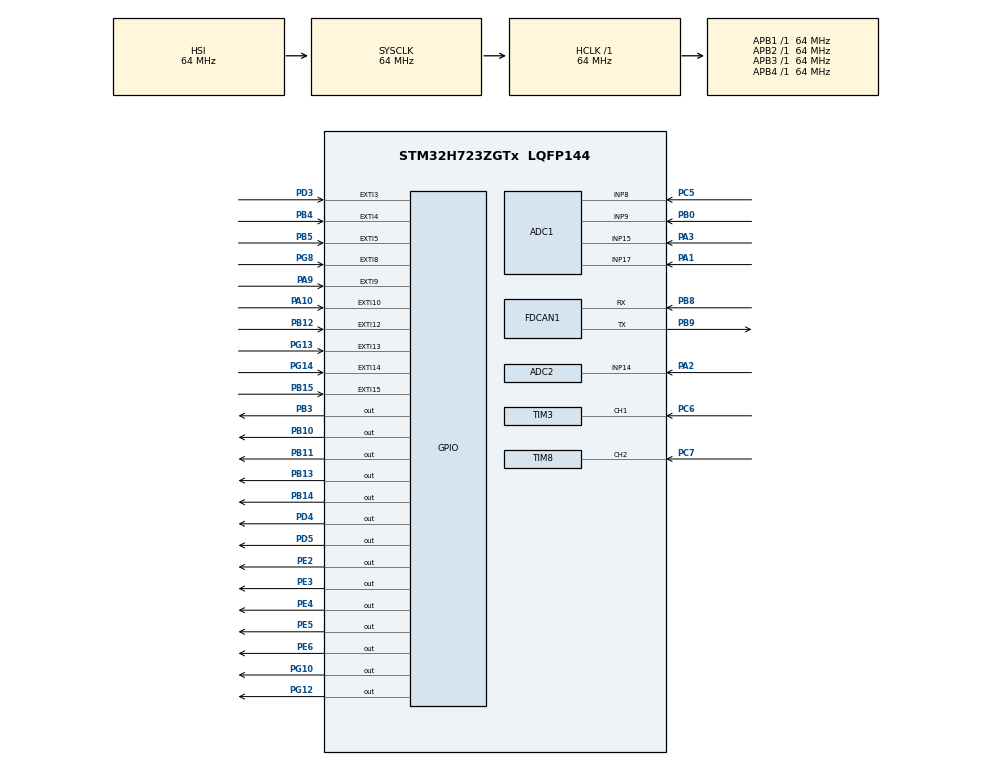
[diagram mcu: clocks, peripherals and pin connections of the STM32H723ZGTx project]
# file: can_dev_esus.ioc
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ADC1.Channel-0\#ChannelRegularConversion=ADC_CHANNEL_9
ADC1.ClockPrescaler=ADC_CLOCK_ASYNC_DIV4
ADC1.NbrOfConversionFlag=1
ADC1.OffsetNumber-0\#ChannelRegularConversion=ADC_OFFSET_NONE
ADC1.OffsetSignedSaturation-0\#ChannelRegularConversion=DISABLE
ADC1.Rank-0\#ChannelRegularConversion=1
ADC1.SamplingTime-0\#ChannelRegularConversion=ADC_SAMPLETIME_1CYCLE_5
ADC1.master=1
ADC2.Channel-0\#ChannelRegularConversion=ADC_CHANNEL_14
ADC2.ClockPrescaler=ADC_CLOCK_ASYNC_DIV4
ADC2.NbrOfConversionFlag=1
ADC2.OffsetNumber-0\#ChannelRegularConversion=ADC_OFFSET_NONE
ADC2.OffsetSignedSaturation-0\#ChannelRegularConversion=DISABLE
ADC2.Rank-0\#ChannelRegularConversion=1
ADC2.SamplingTime-0\#ChannelRegularConversion=ADC_SAMPLETIME_1CYCLE_5
CORTEX_M7.default_mode_Activation=1
FDCAN1.AutoRetransmission=ENABLE
FDCAN1.CalculateBaudRateNominal=500000
FDCAN1.CalculateTimeBitNominal=2000
FDCAN1.CalculateTimeQuantumNominal=125.0
FDCAN1.ClockCalibrationCCU=DISABLE
FDCAN1.DataPrescaler=5
FDCAN1.DataSyncJumpWidth=2
FDCAN1.DataTimeSeg1=13
FDCAN1.DataTimeSeg2=6
FDCAN1.Mode=FDCAN_MODE_NORMAL
FDCAN1.NominalPrescaler=6
FDCAN1.NominalSyncJumpWidth=1
FDCAN1.NominalTimeSeg1=13
FDCAN1.NominalTimeSeg2=2
FDCAN1.RxFifo0ElmtsNbr=4
FDCAN1.StdFiltersNbr=1
FDCAN1.TxFifoQueueElmtsNbr=4
Mcu.Family=STM32H7
Mcu.Name=STM32H723ZGTx
Mcu.Package=LQFP144
NVIC.FDCAN1_IT0_IRQn=true\:0\:0\:false\:false\:true\:true\:true\:true
NVIC.FDCAN1_IT1_IRQn=true\:0\:0\:false\:false\:true\:true\:true\:true
NVIC.PriorityGroup=NVIC_PRIORITYGROUP_4
NVIC.TIM3_IRQn=true\:0\:0\:false\:false\:true\:true\:true\:true
NVIC.TIM8_CC_IRQn=true\:0\:0\:false\:false\:true\:true\:true\:true
PA0.Signal=ADC1_INP16
PA1.Mode=IN17-Single-Ended
PA1.Signal=ADC1_INP17
PA10.Signal=GPXTI10
PA11.Signal=USB_OTG_HS_DM
PA12.Signal=USB_OTG_HS_DP
PA13(JTMS/SWDIO).Signal=DEBUG_JTMS-SWDIO
PA14(JTCK/SWCLK).Signal=DEBUG_JTCK-SWCLK
PA2.Signal=ADCx_INP14
PA3.Signal=ADCx_INP15
PA7.Signal=FMC_SDNWE
PA9.Signal=GPXTI9
PB0.Signal=ADCx_INP9
PB1.Signal=ADCx_INP5
PB10.Signal=GPIO_Output
PB11.Signal=GPIO_Output
PB12.Signal=GPXTI12
PB13.Signal=GPIO_Output
PB14.Signal=GPIO_Output
PB15.Signal=GPXTI15
PB3(JTDO/TRACESWO).Signal=GPIO_Output
PB4(NJTRST).Signal=GPXTI4
PB5.Signal=GPXTI5
PB6.Signal=I2C1_SCL
PB7.Signal=I2C1_SDA
PB8.GPIO_PuPd=GPIO_NOPULL
PB8.GPIO_Speed=GPIO_SPEED_FREQ_VERY_HIGH
PB8.Mode=FDCAN_Activate
PB8.Signal=FDCAN1_RX
PB9.GPIO_Speed=GPIO_SPEED_FREQ_VERY_HIGH
PB9.Mode=FDCAN_Activate
PB9.Signal=FDCAN1_TX
PC10.Signal=SDMMC1_D2
PC11.Signal=SDMMC1_D3
PC12.Signal=SDMMC1_CK
PC14-OSC32_IN.Mode=LSE-External-Oscillator
PC14-OSC32_IN.Signal=RCC_OSC32_IN
PC15-OSC32_OUT.Mode=LSE-External-Oscillator
PC15-OSC32_OUT.Signal=RCC_OSC32_OUT
PC2_C.Signal=FMC_SDNE0
PC3_C.Signal=FMC_SDCKE0
PC5.Signal=ADCx_INP8
PC6.Signal=S_TIM3_CH1
PC7.Signal=S_TIM8_CH2
PC8.Signal=SDMMC1_D0
PC9.Signal=SDMMC1_D1
PD0.Signal=FMC_D2_DA2
PD1.Signal=FMC_D3_DA3
PD14.Signal=FMC_D0_DA0
PD2.Signal=SDMMC1_CMD
PD3.Signal=GPXTI3
PD4.Signal=GPIO_Output
PD5.Signal=GPIO_Output
PD7.Signal=SPI1_MOSI
PE10.Signal=FMC_D7_DA7
PE11.Signal=OCTOSPIM_P1_NCS
PE2.Signal=GPIO_Output
PE3.Signal=GPIO_Output
PE4.Signal=GPIO_Output
PE5.Signal=GPIO_Output
PE6.Signal=GPIO_Output
PE7.Signal=FMC_D4_DA4
PE8.Signal=FMC_D5_DA5
PE9.Signal=FMC_D6_DA6
PF0.Signal=FMC_A0
PF1.Signal=FMC_A1
PF10.Signal=OCTOSPIM_P1_CLK
PF11.Signal=FMC_SDNRAS
PF12.Signal=FMC_A6
PF13.Signal=FMC_A7
PF14.Signal=FMC_A8
PF15.Signal=FMC_A9
PF2.Signal=FMC_A2
PF3.Signal=FMC_A3
PF4.Signal=FMC_A4
PF5.Signal=FMC_A5
PF6.Signal=OCTOSPIM_P1_IO3
PF7.Signal=OCTOSPIM_P1_IO2
PF8.Signal=OCTOSPIM_P1_IO0
PF9.Signal=OCTOSPIM_P1_IO1
PG0.Signal=FMC_A10
PG1.Signal=FMC_A11
PG10.Signal=GPIO_Output
PG11.Signal=SPI1_SCK
PG12.Signal=GPIO_Output
PG13.Signal=GPXTI13
PG14.Signal=GPXTI14
PG15.Signal=FMC_SDNCAS
PG2.Signal=FMC_A12
PG4.Signal=FMC_A14_BA0
PG5.Signal=FMC_A15_BA1
PG8.Signal=GPXTI8
PG9.Signal=SPI1_MISO
PH0-OSC_IN.Mode=HSE-External-Oscillator
PH0-OSC_IN.Signal=RCC_OSC_IN
PH1-OSC_OUT.Mode=HSE-External-Oscillator
PH1-OSC_OUT.Signal=RCC_OSC_OUT
ProjectManager.HeapSize=0x200
ProjectManager.StackSize=0x400
ProjectManager.TargetToolchain=CMake
RCC.ADCFreq_Value=38400000
RCC.APB1Freq_Value=64000000
RCC.APB2Freq_Value=64000000
RCC.APB3Freq_Value=64000000
RCC.APB4Freq_Value=64000000
RCC.CortexFreq_Value=64000000
RCC.DIVM1=4
RCC.DIVM2=4
RCC.DIVN1=12
RCC.DIVN2=12
RCC.DIVP2=5
RCC.DIVQ1=4
RCC.HCLKFreq_Value=64000000
RCC.PLL2FRACN=0
RCC.PLLFRACN=0
RCC.SYSCLKFreq_VALUE=64000000
RCC.USBFreq_Value=48000000
SH.ADCx_INP14.0=ADC2_INP14,IN14-Single-Ended
SH.ADCx_INP14.1=ADC1_INP14,IN14-Single-Ended
SH.ADCx_INP15.0=ADC1_INP15,IN15-Single-Ended
SH.ADCx_INP5.0=ADC1_INP5
SH.ADCx_INP8.0=ADC1_INP8,IN8-Single-Ended
SH.ADCx_INP9.0=ADC1_INP9,IN9-Single-Ended
SH.FMC_A0.0=FMC_A0
SH.FMC_A1.0=FMC_A1
SH.FMC_A10.0=FMC_A10
SH.FMC_A11.0=FMC_A11
SH.FMC_A12.0=FMC_A12
SH.FMC_A14_BA0.0=FMC_BA0
SH.FMC_A15_BA1.0=FMC_BA1
SH.FMC_A2.0=FMC_A2
SH.FMC_A3.0=FMC_A3
SH.FMC_A4.0=FMC_A4
SH.FMC_A5.0=FMC_A5
SH.FMC_A6.0=FMC_A6
SH.FMC_A7.0=FMC_A7
SH.FMC_A8.0=FMC_A8
SH.FMC_A9.0=FMC_A9
SH.FMC_D0_DA0.0=FMC_D0
SH.FMC_D2_DA2.0=FMC_D2
SH.FMC_D3_DA3.0=FMC_D3
SH.FMC_D4_DA4.0=FMC_D4
SH.FMC_D5_DA5.0=FMC_D5
SH.FMC_D6_DA6.0=FMC_D6
SH.FMC_D7_DA7.0=FMC_D7
SH.FMC_SDNCAS.0=FMC_SDNCAS
SH.FMC_SDNRAS.0=FMC_SDNRAS
SH.FMC_SDNWE.0=FMC_SDNWE
SH.S_TIM3_CH1.0=TIM3_CH1,Input_Capture1_from_TI1
SH.S_TIM8_CH2.0=TIM8_CH2,Input_Capture2_from_TI2
TIM3.Channel-Input_Capture1_from_TI1=TIM_CHANNEL_1
TIM3.ICFilter_CH1=15
TIM3.Prescaler=1999
TIM8.Channel-Input_Capture2_from_TI2=TIM_CHANNEL_2
TIM8.ICFilter_CH2=11
TIM8.ICPolarity_CH2=TIM_INPUTCHANNELPOLARITY_RISING
TIM8.Prescaler=1999
VP_MEMORYMAP_VS_MEMORYMAP.Mode=CurAppReg
VP_TIM3_VS_ClockSourceINT.Mode=Internal
VP_TIM8_VS_ClockSourceINT.Mode=Internal
board=custom

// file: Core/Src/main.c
/* USER CODE BEGIN Header */
/* USER CODE END Header */
#include "main.h"

/* USER CODE BEGIN Includes */
#include "control.h"
#include "can_messages.h"
/* USER CODE END Includes */

/* USER CODE BEGIN PD */
// SYSCLK = HSI = 64 MHz, no dividers on APB1/APB2
// Prescaler 199  →  timer tick = 64 MHz / 200 = 320 000 Hz
// (was 1999 → 32 000 Hz; 10× more resolution for period measurement)
#define TIM3_CLOCK_FREQ         320000U
#define TIM8_CLOCK_FREQ         320000U

// Software debounce kept only for the speedometer (magnetic hall sensor).
// The tachometer (induction/VR sensor) debounce is removed entirely;
// rely on the hardware ICFilter instead.
#define MAGNET_DEBOUNCE_TIME_MS 5U

// Smoothing: lower α → more stable, slower to respond.
// 0.15 is a good starting point for a noisy VR sensor.
#define SPEED_SMOOTHING         0.15f
#define TACH_SMOOTHING          0.10f

#define PULSES_PER_REV          1.0f
#define MAX_RPM_LIMIT           20000U
#define RADIUS_MM               266.7f
#define PI                      3.14159265358979323846f
#define TIRE_CIRCUMFERENCE_KM   ((2.0f * PI * RADIUS_MM) / 1000000.0f)

// Counter period is 0xFFFF (65535); the counter wraps 65535 → 0.
// Full-scale tick count per overflow = 65536.
#define TIMER_PERIOD_TICKS      65536U
/* USER CODE END PD */

ADC_HandleTypeDef hadc1;
ADC_HandleTypeDef hadc2;

FDCAN_HandleTypeDef hfdcan1;

TIM_HandleTypeDef htim3;
TIM_HandleTypeDef htim8;

/* USER CODE BEGIN PV */
volatile uint32_t previous_speedometer_capture_value = 0;
volatile uint32_t last_magnet_time                   = 0;
volatile uint32_t previous_tachometer_capture_value  = 0;
// last_spark_time removed — no longer used for tachometer debounce.

static float smoothed_speed_freq = 0.0f;
static float smoothed_tach_freq  = 0.0f;
/* USER CODE END PV */

void SystemClock_Config(void);
void PeriphCommonClock_Config(void);
static void MPU_Config(void);
static void MX_GPIO_Init(void);
static void MX_FDCAN1_Init(void);
static void MX_ADC1_Init(void);
static void MX_ADC2_Init(void);
static void MX_TIM3_Init(void);
static void MX_TIM8_Init(void);

int main(void)
{

  /* MPU Configuration--------------------------------------------------------*/
  MPU_Config();

  /* MCU Configuration--------------------------------------------------------*/

  /* Reset of all peripherals, Initializes the Flash interface and the Systick. */
  HAL_Init();

  /* Configure the system clock */
  SystemClock_Config();

  /* Configure the peripherals common clocks */
  PeriphCommonClock_Config();

  /* Initialize all configured peripherals */
  MX_GPIO_Init();
  MX_FDCAN1_Init();
  MX_ADC1_Init();
  MX_ADC2_Init();
  MX_TIM3_Init();
  MX_TIM8_Init();
  /* USER CODE BEGIN 2 */
  if (HAL_FDCAN_Start(&hfdcan1) != HAL_OK)
  {
    Error_Handler();
  }

  if (HAL_FDCAN_ActivateNotification(&hfdcan1, FDCAN_IT_RX_FIFO0_NEW_MESSAGE, 0) != HAL_OK)
  {
    Error_Handler();
  }

  HAL_NVIC_SetPriority(TIM3_IRQn, 0, 0);
  HAL_NVIC_EnableIRQ(TIM3_IRQn);

  HAL_NVIC_SetPriority(TIM8_CC_IRQn, 0, 0);
  HAL_NVIC_EnableIRQ(TIM8_CC_IRQn);

  if (HAL_TIM_IC_Start_IT(&htim3, TIM_CHANNEL_1) != HAL_OK)
  {
    Error_Handler();
  }
  if (HAL_TIM_IC_Start_IT(&htim8, TIM_CHANNEL_2) != HAL_OK)
  {
    Error_Handler();
  }

  HAL_FDCAN_ConfigGlobalFilter(
    &hfdcan1,
    FDCAN_ACCEPT_IN_RX_FIFO0,
    FDCAN_ACCEPT_IN_RX_FIFO0,
    DISABLE,
    DISABLE
  );

  HAL_GPIO_WritePin(GPIOE, GPIO_PIN_6, GPIO_PIN_RESET); // Force CAN transceiver ON

  /* USER CODE END 2 */

  /* Infinite loop */
  while (1)
  {

    /* USER CODE BEGIN 3 */

    uint32_t current_time = HAL_GetTick();

    // Zero-out speed if no magnet pulse for > 1 s
    if ((current_time - last_magnet_time) > 1000U)
    {
      measured_speedometer_frequency = 0;
      smoothed_speed_freq            = 0.0f;
    }

    // Zero-out tach if no spark pulse for > 1 s.
    // Use the capture-register timestamp stored in previous_tachometer_capture_value
    // indirectly: compare against last_magnet_time equivalent kept via HAL tick
    // captured inside the ISR.  We reuse the same pattern but with a separate
    // dedicated tick variable written in the ISR.
    // (last_tach_tick is declared below as a file-scope volatile)
    extern volatile uint32_t last_tach_tick;
    if ((current_time - last_tach_tick) > 1000U)
    {
      measured_tachometer_frequency = 0;
      smoothed_tach_freq            = 0.0f;
    }

    SendSpeedOnCan(CAN_ID_REAR_SPEED);
    SendTachometerOnCan(CAN_ID_REAR_RPM);

    HAL_Delay(100);

    // Bus-Off recovery
    if (hfdcan1.Instance->PSR & FDCAN_PSR_BO)
    {
      HAL_FDCAN_Stop(&hfdcan1);
      HAL_FDCAN_Start(&hfdcan1);
      HAL_FDCAN_ActivateNotification(&hfdcan1, FDCAN_IT_RX_FIFO0_NEW_MESSAGE, 0);
    }
  }
  /* USER CODE END 3 */
}

void SystemClock_Config(void)
{
  RCC_OscInitTypeDef RCC_OscInitStruct = {0};
  RCC_ClkInitTypeDef RCC_ClkInitStruct = {0};

  /** Supply configuration update enable
  */
  HAL_PWREx_ConfigSupply(PWR_LDO_SUPPLY);

  /** Configure the main internal regulator output voltage
  */
  __HAL_PWR_VOLTAGESCALING_CONFIG(PWR_REGULATOR_VOLTAGE_SCALE3);

  while(!__HAL_PWR_GET_FLAG(PWR_FLAG_VOSRDY)) {}

  /** Initializes the RCC Oscillators according to the specified parameters
  * in the RCC_OscInitTypeDef structure.
  */
  RCC_OscInitStruct.OscillatorType = RCC_OSCILLATORTYPE_HSI;
  RCC_OscInitStruct.HSIState = RCC_HSI_DIV1;
  RCC_OscInitStruct.HSICalibrationValue = 64;
  RCC_OscInitStruct.PLL.PLLState = RCC_PLL_ON;
  RCC_OscInitStruct.PLL.PLLSource = RCC_PLLSOURCE_HSI;
  RCC_OscInitStruct.PLL.PLLM = 4;
  RCC_OscInitStruct.PLL.PLLN = 12;
  RCC_OscInitStruct.PLL.PLLP = 2;
  RCC_OscInitStruct.PLL.PLLQ = 4;
  RCC_OscInitStruct.PLL.PLLR = 2;
  RCC_OscInitStruct.PLL.PLLRGE = RCC_PLL1VCIRANGE_3;
  RCC_OscInitStruct.PLL.PLLVCOSEL = RCC_PLL1VCOWIDE;
  RCC_OscInitStruct.PLL.PLLFRACN = 0;
  if (HAL_RCC_OscConfig(&RCC_OscInitStruct) != HAL_OK)
  {
    Error_Handler();
  }

  /** Initializes the CPU, AHB and APB buses clocks
  */
  RCC_ClkInitStruct.ClockType = RCC_CLOCKTYPE_HCLK|RCC_CLOCKTYPE_SYSCLK
                              |RCC_CLOCKTYPE_PCLK1|RCC_CLOCKTYPE_PCLK2
                              |RCC_CLOCKTYPE_D3PCLK1|RCC_CLOCKTYPE_D1PCLK1;
  RCC_ClkInitStruct.SYSCLKSource = RCC_SYSCLKSOURCE_HSI;
  RCC_ClkInitStruct.SYSCLKDivider = RCC_SYSCLK_DIV1;
  RCC_ClkInitStruct.AHBCLKDivider = RCC_HCLK_DIV1;
  RCC_ClkInitStruct.APB3CLKDivider = RCC_APB3_DIV1;
  RCC_ClkInitStruct.APB1CLKDivider = RCC_APB1_DIV1;
  RCC_ClkInitStruct.APB2CLKDivider = RCC_APB2_DIV1;
  RCC_ClkInitStruct.APB4CLKDivider = RCC_APB4_DIV1;

  if (HAL_RCC_ClockConfig(&RCC_ClkInitStruct, FLASH_LATENCY_1) != HAL_OK)
  {
    Error_Handler();
  }
}

void PeriphCommonClock_Config(void)
{
  RCC_PeriphCLKInitTypeDef PeriphClkInitStruct = {0};

  /** Initializes the peripherals clock
  */
  PeriphClkInitStruct.PeriphClockSelection = RCC_PERIPHCLK_ADC;
  PeriphClkInitStruct.PLL2.PLL2M = 4;
  PeriphClkInitStruct.PLL2.PLL2N = 12;
  PeriphClkInitStruct.PLL2.PLL2P = 5;
  PeriphClkInitStruct.PLL2.PLL2Q = 2;
  PeriphClkInitStruct.PLL2.PLL2R = 2;
  PeriphClkInitStruct.PLL2.PLL2RGE = RCC_PLL2VCIRANGE_3;
  PeriphClkInitStruct.PLL2.PLL2VCOSEL = RCC_PLL2VCOWIDE;
  PeriphClkInitStruct.PLL2.PLL2FRACN = 0;
  PeriphClkInitStruct.AdcClockSelection = RCC_ADCCLKSOURCE_PLL2;
  if (HAL_RCCEx_PeriphCLKConfig(&PeriphClkInitStruct) != HAL_OK)
  {
    Error_Handler();
  }
}

static void MX_ADC1_Init(void)
{

  ADC_MultiModeTypeDef multimode = {0};
  ADC_ChannelConfTypeDef sConfig = {0};

  /** Common config
  */
  hadc1.Instance = ADC1;
  hadc1.Init.ClockPrescaler = ADC_CLOCK_ASYNC_DIV4;
  hadc1.Init.Resolution = ADC_RESOLUTION_16B;
  hadc1.Init.ScanConvMode = ADC_SCAN_DISABLE;
  hadc1.Init.EOCSelection = ADC_EOC_SINGLE_CONV;
  hadc1.Init.LowPowerAutoWait = DISABLE;
  hadc1.Init.ContinuousConvMode = DISABLE;
  hadc1.Init.NbrOfConversion = 1;
  hadc1.Init.DiscontinuousConvMode = DISABLE;
  hadc1.Init.ExternalTrigConv = ADC_SOFTWARE_START;
  hadc1.Init.ExternalTrigConvEdge = ADC_EXTERNALTRIGCONVEDGE_NONE;
  hadc1.Init.ConversionDataManagement = ADC_CONVERSIONDATA_DR;
  hadc1.Init.Overrun = ADC_OVR_DATA_PRESERVED;
  hadc1.Init.LeftBitShift = ADC_LEFTBITSHIFT_NONE;
  hadc1.Init.OversamplingMode = DISABLE;
  hadc1.Init.Oversampling.Ratio = 1;
  if (HAL_ADC_Init(&hadc1) != HAL_OK)
  {
    Error_Handler();
  }

  /** Configure the ADC multi-mode
  */
  multimode.Mode = ADC_MODE_INDEPENDENT;
  if (HAL_ADCEx_MultiModeConfigChannel(&hadc1, &multimode) != HAL_OK)
  {
    Error_Handler();
  }

  /** Configure Regular Channel
  */
  sConfig.Channel = ADC_CHANNEL_9;
  sConfig.Rank = ADC_REGULAR_RANK_1;
  sConfig.SamplingTime = ADC_SAMPLETIME_1CYCLE_5;
  sConfig.SingleDiff = ADC_SINGLE_ENDED;
  sConfig.OffsetNumber = ADC_OFFSET_NONE;
  sConfig.Offset = 0;
  sConfig.OffsetSignedSaturation = DISABLE;
  if (HAL_ADC_ConfigChannel(&hadc1, &sConfig) != HAL_OK)
  {
    Error_Handler();
  }

}

static void MX_ADC2_Init(void)
{

  ADC_ChannelConfTypeDef sConfig = {0};

  /** Common config
  */
  hadc2.Instance = ADC2;
  hadc2.Init.ClockPrescaler = ADC_CLOCK_ASYNC_DIV4;
  hadc2.Init.Resolution = ADC_RESOLUTION_16B;
  hadc2.Init.ScanConvMode = ADC_SCAN_DISABLE;
  hadc2.Init.EOCSelection = ADC_EOC_SINGLE_CONV;
  hadc2.Init.LowPowerAutoWait = DISABLE;
  hadc2.Init.ContinuousConvMode = DISABLE;
  hadc2.Init.NbrOfConversion = 1;
  hadc2.Init.DiscontinuousConvMode = DISABLE;
  hadc2.Init.ExternalTrigConv = ADC_SOFTWARE_START;
  hadc2.Init.ExternalTrigConvEdge = ADC_EXTERNALTRIGCONVEDGE_NONE;
  hadc2.Init.ConversionDataManagement = ADC_CONVERSIONDATA_DR;
  hadc2.Init.Overrun = ADC_OVR_DATA_PRESERVED;
  hadc2.Init.LeftBitShift = ADC_LEFTBITSHIFT_NONE;
  hadc2.Init.OversamplingMode = DISABLE;
  hadc2.Init.Oversampling.Ratio = 1;
  if (HAL_ADC_Init(&hadc2) != HAL_OK)
  {
    Error_Handler();
  }

  /** Configure Regular Channel
  */
  sConfig.Channel = ADC_CHANNEL_14;
  sConfig.Rank = ADC_REGULAR_RANK_1;
  sConfig.SamplingTime = ADC_SAMPLETIME_1CYCLE_5;
  sConfig.SingleDiff = ADC_SINGLE_ENDED;
  sConfig.OffsetNumber = ADC_OFFSET_NONE;
  sConfig.Offset = 0;
  sConfig.OffsetSignedSaturation = DISABLE;
  if (HAL_ADC_ConfigChannel(&hadc2, &sConfig) != HAL_OK)
  {
    Error_Handler();
  }

}

static void MX_FDCAN1_Init(void)
{

  hfdcan1.Instance = FDCAN1;
  hfdcan1.Init.FrameFormat = FDCAN_FRAME_CLASSIC;
  hfdcan1.Init.Mode = FDCAN_MODE_NORMAL;
  hfdcan1.Init.AutoRetransmission = ENABLE;
  hfdcan1.Init.TransmitPause = DISABLE;
  hfdcan1.Init.ProtocolException = DISABLE;
  hfdcan1.Init.NominalPrescaler = 6;
  hfdcan1.Init.NominalSyncJumpWidth = 1;
  hfdcan1.Init.NominalTimeSeg1 = 13;
  hfdcan1.Init.NominalTimeSeg2 = 2;
  hfdcan1.Init.DataPrescaler = 5;
  hfdcan1.Init.DataSyncJumpWidth = 2;
  hfdcan1.Init.DataTimeSeg1 = 13;
  hfdcan1.Init.DataTimeSeg2 = 6;
  hfdcan1.Init.MessageRAMOffset = 0;
  hfdcan1.Init.StdFiltersNbr = 1;
  hfdcan1.Init.ExtFiltersNbr = 0;
  hfdcan1.Init.RxFifo0ElmtsNbr = 4;
  hfdcan1.Init.RxFifo0ElmtSize = FDCAN_DATA_BYTES_8;
  hfdcan1.Init.RxFifo1ElmtsNbr = 0;
  hfdcan1.Init.RxFifo1ElmtSize = FDCAN_DATA_BYTES_8;
  hfdcan1.Init.RxBuffersNbr = 0;
  hfdcan1.Init.RxBufferSize = FDCAN_DATA_BYTES_8;
  hfdcan1.Init.TxEventsNbr = 0;
  hfdcan1.Init.TxBuffersNbr = 0;
  hfdcan1.Init.TxFifoQueueElmtsNbr = 4;
  hfdcan1.Init.TxFifoQueueMode = FDCAN_TX_FIFO_OPERATION;
  hfdcan1.Init.TxElmtSize = FDCAN_DATA_BYTES_8;
  if (HAL_FDCAN_Init(&hfdcan1) != HAL_OK)
  {
    Error_Handler();
  }

}

static void MX_TIM3_Init(void)
{

  TIM_ClockConfigTypeDef sClockSourceConfig = {0};
  TIM_MasterConfigTypeDef sMasterConfig = {0};
  TIM_IC_InitTypeDef sConfigIC = {0};

  htim3.Instance = TIM3;
  htim3.Init.Prescaler = 1999;
  htim3.Init.CounterMode = TIM_COUNTERMODE_UP;
  htim3.Init.Period = 65535;
  htim3.Init.ClockDivision = TIM_CLOCKDIVISION_DIV1;
  htim3.Init.AutoReloadPreload = TIM_AUTORELOAD_PRELOAD_DISABLE;
  if (HAL_TIM_Base_Init(&htim3) != HAL_OK)
  {
    Error_Handler();
  }
  sClockSourceConfig.ClockSource = TIM_CLOCKSOURCE_INTERNAL;
  if (HAL_TIM_ConfigClockSource(&htim3, &sClockSourceConfig) != HAL_OK)
  {
    Error_Handler();
  }
  if (HAL_TIM_IC_Init(&htim3) != HAL_OK)
  {
    Error_Handler();
  }
  sMasterConfig.MasterOutputTrigger = TIM_TRGO_RESET;
  sMasterConfig.MasterSlaveMode = TIM_MASTERSLAVEMODE_DISABLE;
  if (HAL_TIMEx_MasterConfigSynchronization(&htim3, &sMasterConfig) != HAL_OK)
  {
    Error_Handler();
  }
  sConfigIC.ICPolarity = TIM_INPUTCHANNELPOLARITY_RISING;
  sConfigIC.ICSelection = TIM_ICSELECTION_DIRECTTI;
  sConfigIC.ICPrescaler = TIM_ICPSC_DIV1;
  sConfigIC.ICFilter = 15;
  if (HAL_TIM_IC_ConfigChannel(&htim3, &sConfigIC, TIM_CHANNEL_1) != HAL_OK)
  {
    Error_Handler();
  }

}

static void MX_TIM8_Init(void)
{

  TIM_ClockConfigTypeDef sClockSourceConfig = {0};
  TIM_MasterConfigTypeDef sMasterConfig = {0};
  TIM_IC_InitTypeDef sConfigIC = {0};

  htim8.Instance = TIM8;
  htim8.Init.Prescaler = 1999;
  htim8.Init.CounterMode = TIM_COUNTERMODE_UP;
  htim8.Init.Period = 65535;
  htim8.Init.ClockDivision = TIM_CLOCKDIVISION_DIV1;
  htim8.Init.RepetitionCounter = 0;
  htim8.Init.AutoReloadPreload = TIM_AUTORELOAD_PRELOAD_DISABLE;
  if (HAL_TIM_Base_Init(&htim8) != HAL_OK)
  {
    Error_Handler();
  }
  sClockSourceConfig.ClockSource = TIM_CLOCKSOURCE_INTERNAL;
  if (HAL_TIM_ConfigClockSource(&htim8, &sClockSourceConfig) != HAL_OK)
  {
    Error_Handler();
  }
  if (HAL_TIM_IC_Init(&htim8) != HAL_OK)
  {
    Error_Handler();
  }
  sMasterConfig.MasterOutputTrigger = TIM_TRGO_RESET;
  sMasterConfig.MasterOutputTrigger2 = TIM_TRGO2_RESET;
  sMasterConfig.MasterSlaveMode = TIM_MASTERSLAVEMODE_DISABLE;
  if (HAL_TIMEx_MasterConfigSynchronization(&htim8, &sMasterConfig) != HAL_OK)
  {
    Error_Handler();
  }
  sConfigIC.ICPolarity = TIM_INPUTCHANNELPOLARITY_RISING;
  sConfigIC.ICSelection = TIM_ICSELECTION_DIRECTTI;
  sConfigIC.ICPrescaler = TIM_ICPSC_DIV1;
  sConfigIC.ICFilter = 11;
  if (HAL_TIM_IC_ConfigChannel(&htim8, &sConfigIC, TIM_CHANNEL_2) != HAL_OK)
  {
    Error_Handler();
  }

}

static void MX_GPIO_Init(void)
{
  GPIO_InitTypeDef GPIO_InitStruct = {0};

  /* GPIO Ports Clock Enable */
  __HAL_RCC_GPIOE_CLK_ENABLE();
  __HAL_RCC_GPIOC_CLK_ENABLE();
  __HAL_RCC_GPIOF_CLK_ENABLE();
  __HAL_RCC_GPIOH_CLK_ENABLE();
  __HAL_RCC_GPIOA_CLK_ENABLE();
  __HAL_RCC_GPIOB_CLK_ENABLE();
  __HAL_RCC_GPIOG_CLK_ENABLE();
  __HAL_RCC_GPIOD_CLK_ENABLE();

  /*Configure GPIO pin Output Level */
  HAL_GPIO_WritePin(GPIOE, GPIO_PIN_2|GPIO_PIN_3|GPIO_PIN_4|GPIO_PIN_5
                          |GPIO_PIN_6, GPIO_PIN_RESET);

  /*Configure GPIO pin Output Level */
  HAL_GPIO_WritePin(GPIOB, GPIO_PIN_10|GPIO_PIN_11|GPIO_PIN_13|GPIO_PIN_14
                          |GPIO_PIN_3, GPIO_PIN_RESET);

  /*Configure GPIO pin Output Level */
  HAL_GPIO_WritePin(GPIOD, GPIO_PIN_4|GPIO_PIN_5, GPIO_PIN_RESET);

  /*Configure GPIO pin Output Level */
  HAL_GPIO_WritePin(GPIOG, GPIO_PIN_10|GPIO_PIN_12, GPIO_PIN_RESET);

  /*Configure GPIO pins : PE2 PE3 PE4 PE5
                           PE6 */
  GPIO_InitStruct.Pin = GPIO_PIN_2|GPIO_PIN_3|GPIO_PIN_4|GPIO_PIN_5
                          |GPIO_PIN_6;
  GPIO_InitStruct.Mode = GPIO_MODE_OUTPUT_PP;
  GPIO_InitStruct.Pull = GPIO_NOPULL;
  GPIO_InitStruct.Speed = GPIO_SPEED_FREQ_LOW;
  HAL_GPIO_Init(GPIOE, &GPIO_InitStruct);

  /*Configure GPIO pins : PF0 PF1 PF2 PF3
                           PF4 PF5 PF11 PF12
                           PF13 PF14 PF15 */
  GPIO_InitStruct.Pin = GPIO_PIN_0|GPIO_PIN_1|GPIO_PIN_2|GPIO_PIN_3
                          |GPIO_PIN_4|GPIO_PIN_5|GPIO_PIN_11|GPIO_PIN_12
                          |GPIO_PIN_13|GPIO_PIN_14|GPIO_PIN_15;
  GPIO_InitStruct.Mode = GPIO_MODE_AF_PP;
  GPIO_InitStruct.Pull = GPIO_NOPULL;
  GPIO_InitStruct.Speed = GPIO_SPEED_FREQ_VERY_HIGH;
  GPIO_InitStruct.Alternate = GPIO_AF12_FMC;
  HAL_GPIO_Init(GPIOF, &GPIO_InitStruct);

  /*Configure GPIO pins : PF6 PF7 PF8 PF9 */
  GPIO_InitStruct.Pin = GPIO_PIN_6|GPIO_PIN_7|GPIO_PIN_8|GPIO_PIN_9;
  GPIO_InitStruct.Mode = GPIO_MODE_AF_PP;
  GPIO_InitStruct.Pull = GPIO_NOPULL;
  GPIO_InitStruct.Speed = GPIO_SPEED_FREQ_VERY_HIGH;
  GPIO_InitStruct.Alternate = GPIO_AF10_OCTOSPIM_P1;
  HAL_GPIO_Init(GPIOF, &GPIO_InitStruct);

  /*Configure GPIO pin : PF10 */
  GPIO_InitStruct.Pin = GPIO_PIN_10;
  GPIO_InitStruct.Mode = GPIO_MODE_AF_PP;
  GPIO_InitStruct.Pull = GPIO_NOPULL;
  GPIO_InitStruct.Speed = GPIO_SPEED_FREQ_VERY_HIGH;
  GPIO_InitStruct.Alternate = GPIO_AF9_OCTOSPIM_P1;
  HAL_GPIO_Init(GPIOF, &GPIO_InitStruct);

  /*Configure GPIO pins : PC2 PC3 */
  GPIO_InitStruct.Pin = GPIO_PIN_2|GPIO_PIN_3;
  GPIO_InitStruct.Mode = GPIO_MODE_AF_PP;
  GPIO_InitStruct.Pull = GPIO_NOPULL;
  GPIO_InitStruct.Speed = GPIO_SPEED_FREQ_VERY_HIGH;
  GPIO_InitStruct.Alternate = GPIO_AF12_FMC;
  HAL_GPIO_Init(GPIOC, &GPIO_InitStruct);

  /*Configure GPIO pin : PA7 */
  GPIO_InitStruct.Pin = GPIO_PIN_7;
  GPIO_InitStruct.Mode = GPIO_MODE_AF_PP;
  GPIO_InitStruct.Pull = GPIO_NOPULL;
  GPIO_InitStruct.Speed = GPIO_SPEED_FREQ_VERY_HIGH;
  GPIO_InitStruct.Alternate = GPIO_AF12_FMC;
  HAL_GPIO_Init(GPIOA, &GPIO_InitStruct);

  /*Configure GPIO pins : PG0 PG1 PG2 PG4
                           PG5 PG15 */
  GPIO_InitStruct.Pin = GPIO_PIN_0|GPIO_PIN_1|GPIO_PIN_2|GPIO_PIN_4
                          |GPIO_PIN_5|GPIO_PIN_15;
  GPIO_InitStruct.Mode = GPIO_MODE_AF_PP;
  GPIO_InitStruct.Pull = GPIO_NOPULL;
  GPIO_InitStruct.Speed = GPIO_SPEED_FREQ_VERY_HIGH;
  GPIO_InitStruct.Alternate = GPIO_AF12_FMC;
  HAL_GPIO_Init(GPIOG, &GPIO_InitStruct);

  /*Configure GPIO pins : PE7 PE8 PE9 PE10 */
  GPIO_InitStruct.Pin = GPIO_PIN_7|GPIO_PIN_8|GPIO_PIN_9|GPIO_PIN_10;
  GPIO_InitStruct.Mode = GPIO_MODE_AF_PP;
  GPIO_InitStruct.Pull = GPIO_NOPULL;
  GPIO_InitStruct.Speed = GPIO_SPEED_FREQ_VERY_HIGH;
  GPIO_InitStruct.Alternate = GPIO_AF12_FMC;
  HAL_GPIO_Init(GPIOE, &GPIO_InitStruct);

  /*Configure GPIO pin : PE11 */
  GPIO_InitStruct.Pin = GPIO_PIN_11;
  GPIO_InitStruct.Mode = GPIO_MODE_AF_PP;
  GPIO_InitStruct.Pull = GPIO_NOPULL;
  GPIO_InitStruct.Speed = GPIO_SPEED_FREQ_VERY_HIGH;
  GPIO_InitStruct.Alternate = GPIO_AF11_OCTOSPIM_P1;
  HAL_GPIO_Init(GPIOE, &GPIO_InitStruct);

  /*Configure GPIO pins : PB10 PB11 PB13 PB14
                           PB3 */
  GPIO_InitStruct.Pin = GPIO_PIN_10|GPIO_PIN_11|GPIO_PIN_13|GPIO_PIN_14
                          |GPIO_PIN_3;
  GPIO_InitStruct.Mode = GPIO_MODE_OUTPUT_PP;
  GPIO_InitStruct.Pull = GPIO_NOPULL;
  GPIO_InitStruct.Speed = GPIO_SPEED_FREQ_LOW;
  HAL_GPIO_Init(GPIOB, &GPIO_InitStruct);

  /*Configure GPIO pins : PB12 PB15 PB4 PB5 */
  GPIO_InitStruct.Pin = GPIO_PIN_12|GPIO_PIN_15|GPIO_PIN_4|GPIO_PIN_5;
  GPIO_InitStruct.Mode = GPIO_MODE_IT_RISING;
  GPIO_InitStruct.Pull = GPIO_NOPULL;
  HAL_GPIO_Init(GPIOB, &GPIO_InitStruct);

  /*Configure GPIO pins : PD14 PD0 PD1 */
  GPIO_InitStruct.Pin = GPIO_PIN_14|GPIO_PIN_0|GPIO_PIN_1;
  GPIO_InitStruct.Mode = GPIO_MODE_AF_PP;
  GPIO_InitStruct.Pull = GPIO_NOPULL;
  GPIO_InitStruct.Speed = GPIO_SPEED_FREQ_VERY_HIGH;
  GPIO_InitStruct.Alternate = GPIO_AF12_FMC;
  HAL_GPIO_Init(GPIOD, &GPIO_InitStruct);

  /*Configure GPIO pins : PG8 PG13 PG14 */
  GPIO_InitStruct.Pin = GPIO_PIN_8|GPIO_PIN_13|GPIO_PIN_14;
  GPIO_InitStruct.Mode = GPIO_MODE_IT_RISING;
  GPIO_InitStruct.Pull = GPIO_NOPULL;
  HAL_GPIO_Init(GPIOG, &GPIO_InitStruct);

  /*Configure GPIO pins : PC8 PC9 PC10 PC11
                           PC12 */
  GPIO_InitStruct.Pin = GPIO_PIN_8|GPIO_PIN_9|GPIO_PIN_10|GPIO_PIN_11
                          |GPIO_PIN_12;
  GPIO_InitStruct.Mode = GPIO_MODE_AF_PP;
  GPIO_InitStruct.Pull = GPIO_NOPULL;
  GPIO_InitStruct.Speed = GPIO_SPEED_FREQ_VERY_HIGH;
  GPIO_InitStruct.Alternate = GPIO_AF12_SDMMC1;
  HAL_GPIO_Init(GPIOC, &GPIO_InitStruct);

  /*Configure GPIO pins : PA9 PA10 */
  GPIO_InitStruct.Pin = GPIO_PIN_9|GPIO_PIN_10;
  GPIO_InitStruct.Mode = GPIO_MODE_IT_RISING;
  GPIO_InitStruct.Pull = GPIO_NOPULL;
  HAL_GPIO_Init(GPIOA, &GPIO_InitStruct);

  /*Configure GPIO pins : PA11 PA12 */
  GPIO_InitStruct.Pin = GPIO_PIN_11|GPIO_PIN_12;
  GPIO_InitStruct.Mode = GPIO_MODE_AF_PP;
  GPIO_InitStruct.Pull = GPIO_NOPULL;
  GPIO_InitStruct.Speed = GPIO_SPEED_FREQ_LOW;
  HAL_GPIO_Init(GPIOA, &GPIO_InitStruct);

  /*Configure GPIO pin : PD2 */
  GPIO_InitStruct.Pin = GPIO_PIN_2;
  GPIO_InitStruct.Mode = GPIO_MODE_AF_PP;
  GPIO_InitStruct.Pull = GPIO_NOPULL;
  GPIO_InitStruct.Speed = GPIO_SPEED_FREQ_VERY_HIGH;
  GPIO_InitStruct.Alternate = GPIO_AF12_SDMMC1;
  HAL_GPIO_Init(GPIOD, &GPIO_InitStruct);

  /*Configure GPIO pin : PD3 */
  GPIO_InitStruct.Pin = GPIO_PIN_3;
  GPIO_InitStruct.Mode = GPIO_MODE_IT_RISING;
  GPIO_InitStruct.Pull = GPIO_NOPULL;
  HAL_GPIO_Init(GPIOD, &GPIO_InitStruct);

  /*Configure GPIO pins : PD4 PD5 */
  GPIO_InitStruct.Pin = GPIO_PIN_4|GPIO_PIN_5;
  GPIO_InitStruct.Mode = GPIO_MODE_OUTPUT_PP;
  GPIO_InitStruct.Pull = GPIO_NOPULL;
  GPIO_InitStruct.Speed = GPIO_SPEED_FREQ_LOW;
  HAL_GPIO_Init(GPIOD, &GPIO_InitStruct);

  /*Configure GPIO pin : PD7 */
  GPIO_InitStruct.Pin = GPIO_PIN_7;
  GPIO_InitStruct.Mode = GPIO_MODE_AF_PP;
  GPIO_InitStruct.Pull = GPIO_NOPULL;
  GPIO_InitStruct.Speed = GPIO_SPEED_FREQ_LOW;
  GPIO_InitStruct.Alternate = GPIO_AF5_SPI1;
  HAL_GPIO_Init(GPIOD, &GPIO_InitStruct);

  /*Configure GPIO pins : PG9 PG11 */
  GPIO_InitStruct.Pin = GPIO_PIN_9|GPIO_PIN_11;
  GPIO_InitStruct.Mode = GPIO_MODE_AF_PP;
  GPIO_InitStruct.Pull = GPIO_NOPULL;
  GPIO_InitStruct.Speed = GPIO_SPEED_FREQ_LOW;
  GPIO_InitStruct.Alternate = GPIO_AF5_SPI1;
  HAL_GPIO_Init(GPIOG, &GPIO_InitStruct);

  /*Configure GPIO pins : PG10 PG12 */
  GPIO_InitStruct.Pin = GPIO_PIN_10|GPIO_PIN_12;
  GPIO_InitStruct.Mode = GPIO_MODE_OUTPUT_PP;
  GPIO_InitStruct.Pull = GPIO_NOPULL;
  GPIO_InitStruct.Speed = GPIO_SPEED_FREQ_LOW;
  HAL_GPIO_Init(GPIOG, &GPIO_InitStruct);

  /*Configure GPIO pins : PB6 PB7 */
  GPIO_InitStruct.Pin = GPIO_PIN_6|GPIO_PIN_7;
  GPIO_InitStruct.Mode = GPIO_MODE_AF_OD;
  GPIO_InitStruct.Pull = GPIO_NOPULL;
  GPIO_InitStruct.Speed = GPIO_SPEED_FREQ_LOW;
  GPIO_InitStruct.Alternate = GPIO_AF4_I2C1;
  HAL_GPIO_Init(GPIOB, &GPIO_InitStruct);

  /* USER CODE BEGIN MX_GPIO_Init_2 */

  /* PB8, PB9 — FDCAN1 RX/TX */
  GPIO_InitStruct.Pin       = GPIO_PIN_8|GPIO_PIN_9;
  GPIO_InitStruct.Mode      = GPIO_MODE_AF_PP;
  GPIO_InitStruct.Pull      = GPIO_NOPULL;
  GPIO_InitStruct.Speed     = GPIO_SPEED_FREQ_VERY_HIGH;
  GPIO_InitStruct.Alternate = GPIO_AF9_FDCAN1;
  HAL_GPIO_Init(GPIOB, &GPIO_InitStruct);

  /* PC6 — TIM3 CH1 (speedometer input capture) */
  GPIO_InitStruct.Pin       = GPIO_PIN_6;
  GPIO_InitStruct.Mode      = GPIO_MODE_AF_PP;
  GPIO_InitStruct.Pull      = GPIO_PULLUP;
  GPIO_InitStruct.Speed     = GPIO_SPEED_FREQ_LOW;
  GPIO_InitStruct.Alternate = GPIO_AF2_TIM3;
  HAL_GPIO_Init(GPIOC, &GPIO_InitStruct);

  /* PC7 — TIM8 CH2 (tachometer input capture) */
  GPIO_InitStruct.Pin       = GPIO_PIN_7;
  GPIO_InitStruct.Mode      = GPIO_MODE_AF_PP;
  GPIO_InitStruct.Pull      = GPIO_PULLUP;
  GPIO_InitStruct.Speed     = GPIO_SPEED_FREQ_LOW;
  GPIO_InitStruct.Alternate = GPIO_AF3_TIM8;
  HAL_GPIO_Init(GPIOC, &GPIO_InitStruct);

  /* USER CODE END MX_GPIO_Init_2 */
}

/* USER CODE BEGIN 4 */

// Tick timestamp updated by the tachometer ISR — used by the main loop
// to zero-out RPM after 1 s of silence.
volatile uint32_t last_tach_tick = 0;

void HAL_TIM_IC_CaptureCallback(TIM_HandleTypeDef *htim)
{
  /* ------------------------------------------------------------------
   * SPEEDOMETER — TIM3 CH1 on PC6, rising edge (hall / magnetic sensor)
   * ------------------------------------------------------------------ */
  if (htim->Instance == TIM3 && htim->Channel == HAL_TIM_ACTIVE_CHANNEL_1)
  {
    uint32_t current_time = HAL_GetTick();

    // Software debounce is still useful for a hall sensor (contact bounce).
    if ((current_time - last_magnet_time) < MAGNET_DEBOUNCE_TIME_MS)
    {
      return;
    }
    last_magnet_time = current_time;

    uint32_t current_capture = HAL_TIM_ReadCapturedValue(htim, TIM_CHANNEL_1);

    // Correct overflow arithmetic: counter wraps 0xFFFF → 0x0000.
    // Full range = 65536 ticks (not 65535+1 via Period).
    uint32_t diff;
    if (current_capture >= previous_speedometer_capture_value)
    {
      diff = current_capture - previous_speedometer_capture_value;
    }
    else
    {
      diff = (TIMER_PERIOD_TICKS - previous_speedometer_capture_value) + current_capture;
    }
    previous_speedometer_capture_value = current_capture;

    if (diff > 0U)
    {
      float instant_freq = (float)TIM3_CLOCK_FREQ / (float)diff;

      // Low α keeps more of the running average → smoother output.
      smoothed_speed_freq = (instant_freq * SPEED_SMOOTHING)
                          + (smoothed_speed_freq * (1.0f - SPEED_SMOOTHING));

      double smoothed_speed_kmh = (double)smoothed_speed_freq
                                * (double)TIRE_CIRCUMFERENCE_KM
                                * 3600.0;

      measured_speedometer_frequency = (uint32_t)smoothed_speed_kmh;
    }
  }

  /* ------------------------------------------------------------------
   * TACHOMETER — TIM8 CH2 on PC7, rising edge (induction / VR sensor)
   *
   * Software debounce REMOVED.  The hardware ICFilter (= 15) now rejects
   * glitches.  Removing the HAL_GetTick() guard means no valid pulses are
   * skipped at high RPM where inter-pulse intervals are shorter than the
   * old 10 ms debounce window.
   * ------------------------------------------------------------------ */
  if (htim->Instance == TIM8 && htim->Channel == HAL_TIM_ACTIVE_CHANNEL_2)
  {
    // Record wall-clock time so the main loop can detect silence.
    last_tach_tick = HAL_GetTick();

    uint32_t current_capture = HAL_TIM_ReadCapturedValue(htim, TIM_CHANNEL_2);

    // Correct overflow arithmetic (same fix as speedometer above).
    uint32_t diff;
    if (current_capture >= previous_tachometer_capture_value)
    {
      diff = current_capture - previous_tachometer_capture_value;
    }
    else
    {
      diff = (TIMER_PERIOD_TICKS - previous_tachometer_capture_value) + current_capture;
    }
    previous_tachometer_capture_value = current_capture;

    if (diff > 0U)
    {
      float instant_freq = (float)TIM8_CLOCK_FREQ / (float)diff;

      // Lower α than speedometer — VR sensors are noisier.
      smoothed_tach_freq = (instant_freq * TACH_SMOOTHING)
                         + (smoothed_tach_freq * (1.0f - TACH_SMOOTHING));

      double calculated_rpm = ((double)smoothed_tach_freq * 60.0) / (double)PULSES_PER_REV;

      if (calculated_rpm > (double)MAX_RPM_LIMIT)
      {
        calculated_rpm = (double)MAX_RPM_LIMIT;
      }

      measured_tachometer_frequency = (uint32_t)calculated_rpm;
    }
  }
}

void HAL_FDCAN_RxFifo0Callback(FDCAN_HandleTypeDef *hfdcan, uint32_t RxFifo0ITs)
{
  if ((RxFifo0ITs & FDCAN_IT_RX_FIFO0_NEW_MESSAGE) != RESET)
  {
    FDCAN_RxHeaderTypeDef RxHeader;
    uint8_t RxData[8];

    if (HAL_FDCAN_GetRxMessage(hfdcan, FDCAN_RX_FIFO0, &RxHeader, RxData) == HAL_OK)
    {
      __NOP();
    }
  }
}

/* USER CODE END 4 */

 /* MPU Configuration */

void MPU_Config(void)
{
  MPU_Region_InitTypeDef MPU_InitStruct = {0};

  /* Disables the MPU */
  HAL_MPU_Disable();

  /** Initializes and configures the Region and the memory to be protected
  */
  MPU_InitStruct.Enable = MPU_REGION_ENABLE;
  MPU_InitStruct.Number = MPU_REGION_NUMBER0;
  MPU_InitStruct.BaseAddress = 0x0;
  MPU_InitStruct.Size = MPU_REGION_SIZE_4GB;
  MPU_InitStruct.SubRegionDisable = 0x87;
  MPU_InitStruct.TypeExtField = MPU_TEX_LEVEL0;
  MPU_InitStruct.AccessPermission = MPU_REGION_NO_ACCESS;
  MPU_InitStruct.DisableExec = MPU_INSTRUCTION_ACCESS_DISABLE;
  MPU_InitStruct.IsShareable = MPU_ACCESS_SHAREABLE;
  MPU_InitStruct.IsCacheable = MPU_ACCESS_NOT_CACHEABLE;
  MPU_InitStruct.IsBufferable = MPU_ACCESS_NOT_BUFFERABLE;

  HAL_MPU_ConfigRegion(&MPU_InitStruct);
  /* Enables the MPU */
  HAL_MPU_Enable(MPU_PRIVILEGED_DEFAULT);

}

void Error_Handler(void)
{
  __disable_irq();
  while (1)
  {
  }
}
